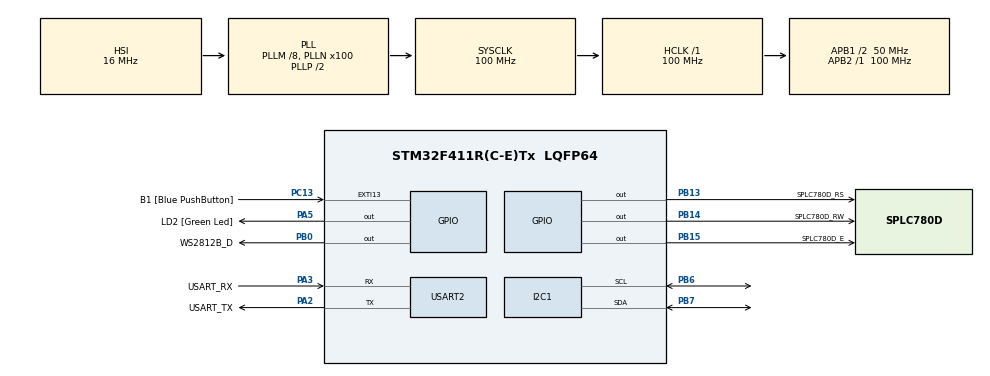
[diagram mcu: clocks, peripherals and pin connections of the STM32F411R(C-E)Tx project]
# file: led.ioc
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Mcu.Family=STM32F4
Mcu.Name=STM32F411R(C-E)Tx
Mcu.Package=LQFP64
NVIC.PriorityGroup=NVIC_PRIORITYGROUP_0
PA13.GPIO_Label=TMS
PA13.Mode=Serial_Wire
PA13.Signal=SYS_JTMS-SWDIO
PA14.GPIO_Label=TCK
PA14.Mode=Serial_Wire
PA14.Signal=SYS_JTCK-SWCLK
PA2.GPIO_Label=USART_TX
PA2.Mode=Asynchronous
PA2.Signal=USART2_TX
PA3.GPIO_Label=USART_RX
PA3.Mode=Asynchronous
PA3.Signal=USART2_RX
PA5.GPIO_Label=LD2 [Green Led]
PA5.Signal=GPIO_Output
PB0.GPIO_Label=WS2812B_D
PB0.GPIO_Speed=GPIO_SPEED_FREQ_VERY_HIGH
PB0.Signal=GPIO_Output
PB13.GPIO_Label=SPLC780D_RS
PB13.GPIO_Speed=GPIO_SPEED_FREQ_LOW
PB13.PinState=GPIO_PIN_RESET
PB13.Signal=GPIO_Output
PB14.GPIO_Label=SPLC780D_RW
PB14.GPIO_Speed=GPIO_SPEED_FREQ_LOW
PB14.PinState=GPIO_PIN_RESET
PB14.Signal=GPIO_Output
PB15.GPIO_Label=SPLC780D_E
PB15.GPIO_Speed=GPIO_SPEED_FREQ_VERY_HIGH
PB15.PinState=GPIO_PIN_RESET
PB15.Signal=GPIO_Output
PB3.GPIO_Label=SWO
PB3.Signal=SYS_JTDO-SWO
PB6.GPIO_Pu=GPIO_PULLUP
PB6.Mode=I2C
PB6.Signal=I2C1_SCL
PB7.GPIO_Pu=GPIO_PULLUP
PB7.Mode=I2C
PB7.Signal=I2C1_SDA
PC13-ANTI_TAMP.GPIO_Label=B1 [Blue PushButton]
PC13-ANTI_TAMP.GPIO_ModeDefaultEXTI=GPIO_MODE_IT_FALLING
PC13-ANTI_TAMP.Signal=GPXTI13
PC14-OSC32_IN.Mode=LSE-External-Oscillator
PC14-OSC32_IN.Signal=RCC_OSC32_IN
PC15-OSC32_OUT.Mode=LSE-External-Oscillator
PC15-OSC32_OUT.Signal=RCC_OSC32_OUT
PH0\ -\ OSC_IN.Mode=HSE-External-Clock-Source
PH0\ -\ OSC_IN.Signal=RCC_OSC_IN
PH1\ -\ OSC_OUT.Mode=HSE-External-Clock-Source
PH1\ -\ OSC_OUT.Signal=RCC_OSC_OUT
ProjectManager.HeapSize=0x200
ProjectManager.StackSize=0x400
ProjectManager.TargetToolchain=STM32CubeIDE
RCC.48MHZClocksFreq_Value=50000000
RCC.AHBFreq_Value=100000000
RCC.APB1CLKDivider=RCC_HCLK_DIV2
RCC.APB1Freq_Value=50000000
RCC.APB1TimFreq_Value=100000000
RCC.APB2Freq_Value=100000000
RCC.APB2TimFreq_Value=100000000
RCC.CortexFreq_Value=100000000
RCC.FLatency-AdvancedSettings=FLASH_LATENCY_3
RCC.HCLKFreq_Value=100000000
RCC.HSE_VALUE=8000000
RCC.HSI_VALUE=16000000
RCC.PLLM=8
RCC.PLLN=100
RCC.SYSCLKFreq_VALUE=100000000
RCC.SYSCLKSource=RCC_SYSCLKSOURCE_PLLCLK
RCC.VCOOutputFreq_Value=200000000
USART2.VirtualMode=VM_ASYNC
board=NUCLEO-F411RE

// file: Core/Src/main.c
/* USER CODE BEGIN Header */
/**
 ******************************************************************************
 * @file           : main.c
 * @brief          : Main program body
 ******************************************************************************
 * @attention
 *
 * Copyright (c) 2025 STMicroelectronics.
 * All rights reserved.
 *
 * This software is licensed under terms that can be found in the LICENSE file
 * in the root directory of this software component.
 * If no LICENSE file comes with this software, it is provided AS-IS.
 *
 ******************************************************************************
 */
/* USER CODE END Header */
#include "main.h"

/* USER CODE BEGIN Includes */
#include "Algo.h"
#include <stdlib.h>
#include "App_Controller.h"
#include "FPS_counter_util.h"
/* USER CODE END Includes */

I2C_HandleTypeDef hi2c1;

UART_HandleTypeDef huart2;

void SystemClock_Config(void);
static void MX_GPIO_Init(void);
static void MX_USART2_UART_Init(void);
static void MX_I2C1_Init(void);

int main(void) {

	/* MCU Configuration--------------------------------------------------------*/

	/* Reset of all peripherals, Initializes the Flash interface and the Systick. */
	HAL_Init();

	/* Configure the system clock */
	SystemClock_Config();

	/* Initialize all configured peripherals */
	MX_GPIO_Init();
	MX_USART2_UART_Init();
	MX_I2C1_Init();
	/* USER CODE BEGIN 2 */

	/* ========================================================================
	 * HARDWARE DRIVER INITIALIZATION
	 * ======================================================================== */

	// Pixel Display (WS2812B LED Matrix)
	DISPLAY_t my_pixel_display;
	DISPLAY_ctor(&my_pixel_display, WS2812B_D_GPIO_Port, WS2812B_D_Pin);

	// Keypad (4x4 matrix via PCF8574)
	KEYPAD_t my_keypad;
	KEYPAD_ctor(&my_keypad, &hi2c1);

	// Character LCD Display (40x2 via SPLC780D)
	SPLC780D_t my_char_display_driver = { .E_Port = SPLC780D_E_GPIO_Port,
			.E_Pin = SPLC780D_E_Pin, .RW_Port = SPLC780D_RW_GPIO_Port, .RW_Pin =
			SPLC780D_RW_Pin, .RS_Port = SPLC780D_RS_GPIO_Port, .RS_Pin =
			SPLC780D_RS_Pin, };
	SPLC780D_ctor(&my_char_display_driver, &hi2c1);

	/* ========================================================================
	 * ABSTRACTION LAYER INITIALIZATION
	 * ======================================================================== */

	// Canvas for pixel display
	CANVAS_t my_canvas;
	CANVAS_ctor(&my_canvas, &my_pixel_display);

	// Input handler
	INPUT_t my_input;
	INPUT_ctor(&my_input, &my_keypad);

	// Character display layers
	CHAR_DISPLAY_t my_char_display;
	CHAR_DISPLAY_ctor(&my_char_display, &my_char_display_driver);

	CHAR_CANVAS_t my_char_canvas;
	CHAR_CANVAS_ctor(&my_char_canvas, &my_char_display);

	/* ========================================================================
	 * APPLICATION SUBSYSTEM INITIALIZATION
	 * ======================================================================== */

	// UI Controller
	APP_UI_t app_ui;
	APP_UI_ctor(&app_ui, &my_char_canvas);
	APP_UI_setup_pages(&app_ui);
	APP_UI_force_refresh(&app_ui);

	// Game Engine
	GAME_Engine_t my_game_engine;
	GAME_ctor(&my_game_engine, &my_canvas);

	// AI Player (always initialized - toggle via UI)
	ALGO_t my_algo_player;
	ALGO_ctor(&my_algo_player, &my_game_engine);
	log_message("MAIN", LOG_INFO, "AI player initialized and ready");

	// FPS Counter
	FPS_Counter_t fps_counter;
	FPS_ctor(&fps_counter, 1000);
	static char fps_string[16];

	/* ========================================================================
	 * TOP-LEVEL APPLICATION CONTROLLER
	 * ======================================================================== */

	APP_Controller_t app_controller;
	APP_CONTROLLER_ctor(&app_controller, &my_game_engine, &app_ui, &my_input,
			&my_algo_player);

	/* ========================================================================
	 * SETUP COMPLETE
	 * ======================================================================== */

	srand(HAL_GetTick());
	log_message("MAIN", LOG_INFO, "System initialized, entering main loop");

	uint32_t last_tick = 0;
	uint8_t counter_input = 0, counter_render = 0, counter_tick = 0;

	/* USER CODE END 2 */

	/* Infinite loop */
	while (1) {

		/* USER CODE BEGIN 3 */
		uint32_t now = HAL_GetTick();

		if (now - last_tick >= (1000 / REFRESH_RATE)) { // 60 FPS
			last_tick = now;

			/* ================================================================
			 * INPUT PROCESSING (30 Hz)
			 * ================================================================ */
			if (++counter_input >= REFRESH_RATE / INPUT_RATE) {
				counter_input = 0;

				// 1. Poll hardware
				KEYPAD_poll(&my_keypad);

				// 2. Controller routes input to appropriate subsystem
				// - In MANUAL mode: input goes to game
				// - In AI mode: input only for menu/settings
				APP_CONTROLLER_process_input(&app_controller);
			}

			/* ================================================================
			 * GAME LOGIC UPDATE (Dynamic: 5Hz for manual, 15Hz for AI)
			 * ================================================================ */
			// Use dynamic tick rate from game engine
			uint8_t current_tick_rate = my_game_engine.level_tick_rate;
			if (++counter_tick >= REFRESH_RATE / current_tick_rate) {
				counter_tick = 0;

				// Controller handles both MANUAL and AI mode:
				// - MANUAL: Uses direction set by process_input
				// - AI: Makes decision HERE at tick rate, then ticks game
				APP_CONTROLLER_update(&app_controller);
			}

			/* ================================================================
			 * RENDERING (60 Hz)
			 * ================================================================ */
			if (++counter_render >= REFRESH_RATE / RENDER_RATE) {
				counter_render = 0;

				// 1. Render game and update UI stats
				APP_CONTROLLER_render(&app_controller);

				// 2. Push canvas to hardware
				CANVAS_sync(&my_canvas);

				// 3. Track FPS
				uint32_t display_fps = FPS_tick(&fps_counter, now);

				// 4. Update display hardware
				DISPLAY_update(&my_pixel_display);

				// 5. Display FPS on character LCD
				static uint32_t last_fps = 0;
				if (display_fps != last_fps) {
					snprintf(fps_string, sizeof(fps_string), "%lu",
							display_fps);
					APP_UI_update_value(&app_ui, GAME_FPS, fps_string);
					last_fps = display_fps;
				}

				// 6. Refresh UI if needed
				APP_UI_refresh(&app_ui);
			}
		}
	}
	/* USER CODE END 3 */
}

void SystemClock_Config(void) {
	RCC_OscInitTypeDef RCC_OscInitStruct = { 0 };
	RCC_ClkInitTypeDef RCC_ClkInitStruct = { 0 };

	/** Configure the main internal regulator output voltage
	 */
	__HAL_RCC_PWR_CLK_ENABLE();
	__HAL_PWR_VOLTAGESCALING_CONFIG(PWR_REGULATOR_VOLTAGE_SCALE1);

	/** Initializes the RCC Oscillators according to the specified parameters
	 * in the RCC_OscInitTypeDef structure.
	 */
	RCC_OscInitStruct.OscillatorType = RCC_OSCILLATORTYPE_HSI;
	RCC_OscInitStruct.HSIState = RCC_HSI_ON;
	RCC_OscInitStruct.HSICalibrationValue = RCC_HSICALIBRATION_DEFAULT;
	RCC_OscInitStruct.PLL.PLLState = RCC_PLL_ON;
	RCC_OscInitStruct.PLL.PLLSource = RCC_PLLSOURCE_HSI;
	RCC_OscInitStruct.PLL.PLLM = 8;
	RCC_OscInitStruct.PLL.PLLN = 100;
	RCC_OscInitStruct.PLL.PLLP = RCC_PLLP_DIV2;
	RCC_OscInitStruct.PLL.PLLQ = 4;
	if (HAL_RCC_OscConfig(&RCC_OscInitStruct) != HAL_OK) {
		Error_Handler();
	}

	/** Initializes the CPU, AHB and APB buses clocks
	 */
	RCC_ClkInitStruct.ClockType = RCC_CLOCKTYPE_HCLK | RCC_CLOCKTYPE_SYSCLK
			| RCC_CLOCKTYPE_PCLK1 | RCC_CLOCKTYPE_PCLK2;
	RCC_ClkInitStruct.SYSCLKSource = RCC_SYSCLKSOURCE_PLLCLK;
	RCC_ClkInitStruct.AHBCLKDivider = RCC_SYSCLK_DIV1;
	RCC_ClkInitStruct.APB1CLKDivider = RCC_HCLK_DIV2;
	RCC_ClkInitStruct.APB2CLKDivider = RCC_HCLK_DIV1;

	if (HAL_RCC_ClockConfig(&RCC_ClkInitStruct, FLASH_LATENCY_3) != HAL_OK) {
		Error_Handler();
	}
}

static void MX_I2C1_Init(void) {

	hi2c1.Instance = I2C1;
	hi2c1.Init.ClockSpeed = 100000;
	hi2c1.Init.DutyCycle = I2C_DUTYCYCLE_2;
	hi2c1.Init.OwnAddress1 = 0;
	hi2c1.Init.AddressingMode = I2C_ADDRESSINGMODE_7BIT;
	hi2c1.Init.DualAddressMode = I2C_DUALADDRESS_DISABLE;
	hi2c1.Init.OwnAddress2 = 0;
	hi2c1.Init.GeneralCallMode = I2C_GENERALCALL_DISABLE;
	hi2c1.Init.NoStretchMode = I2C_NOSTRETCH_DISABLE;
	if (HAL_I2C_Init(&hi2c1) != HAL_OK) {
		Error_Handler();
	}

}

static void MX_USART2_UART_Init(void) {

	huart2.Instance = USART2;
	huart2.Init.BaudRate = 115200;
	huart2.Init.WordLength = UART_WORDLENGTH_8B;
	huart2.Init.StopBits = UART_STOPBITS_1;
	huart2.Init.Parity = UART_PARITY_NONE;
	huart2.Init.Mode = UART_MODE_TX_RX;
	huart2.Init.HwFlowCtl = UART_HWCONTROL_NONE;
	huart2.Init.OverSampling = UART_OVERSAMPLING_16;
	if (HAL_UART_Init(&huart2) != HAL_OK) {
		Error_Handler();
	}

}

static void MX_GPIO_Init(void) {
	GPIO_InitTypeDef GPIO_InitStruct = { 0 };

	/* GPIO Ports Clock Enable */
	__HAL_RCC_GPIOC_CLK_ENABLE();
	__HAL_RCC_GPIOH_CLK_ENABLE();
	__HAL_RCC_GPIOA_CLK_ENABLE();
	__HAL_RCC_GPIOB_CLK_ENABLE();

	/*Configure GPIO pin Output Level */
	HAL_GPIO_WritePin(LD2_GPIO_Port, LD2_Pin, GPIO_PIN_RESET);

	/*Configure GPIO pin Output Level */
	HAL_GPIO_WritePin(GPIOB,
	WS2812B_D_Pin | SPLC780D_RS_Pin | SPLC780D_RW_Pin | SPLC780D_E_Pin,
			GPIO_PIN_RESET);

	/*Configure GPIO pin : B1_Pin */
	GPIO_InitStruct.Pin = B1_Pin;
	GPIO_InitStruct.Mode = GPIO_MODE_IT_FALLING;
	GPIO_InitStruct.Pull = GPIO_NOPULL;
	HAL_GPIO_Init(B1_GPIO_Port, &GPIO_InitStruct);

	/*Configure GPIO pin : LD2_Pin */
	GPIO_InitStruct.Pin = LD2_Pin;
	GPIO_InitStruct.Mode = GPIO_MODE_OUTPUT_PP;
	GPIO_InitStruct.Pull = GPIO_NOPULL;
	GPIO_InitStruct.Speed = GPIO_SPEED_FREQ_LOW;
	HAL_GPIO_Init(LD2_GPIO_Port, &GPIO_InitStruct);

	/*Configure GPIO pins : WS2812B_D_Pin SPLC780D_E_Pin */
	GPIO_InitStruct.Pin = WS2812B_D_Pin | SPLC780D_E_Pin;
	GPIO_InitStruct.Mode = GPIO_MODE_OUTPUT_PP;
	GPIO_InitStruct.Pull = GPIO_NOPULL;
	GPIO_InitStruct.Speed = GPIO_SPEED_FREQ_VERY_HIGH;
	HAL_GPIO_Init(GPIOB, &GPIO_InitStruct);

	/*Configure GPIO pins : SPLC780D_RS_Pin SPLC780D_RW_Pin */
	GPIO_InitStruct.Pin = SPLC780D_RS_Pin | SPLC780D_RW_Pin;
	GPIO_InitStruct.Mode = GPIO_MODE_OUTPUT_PP;
	GPIO_InitStruct.Pull = GPIO_NOPULL;
	GPIO_InitStruct.Speed = GPIO_SPEED_FREQ_LOW;
	HAL_GPIO_Init(GPIOB, &GPIO_InitStruct);

}

void Error_Handler(void) {
	__disable_irq();
	while (1) {
	}
}
